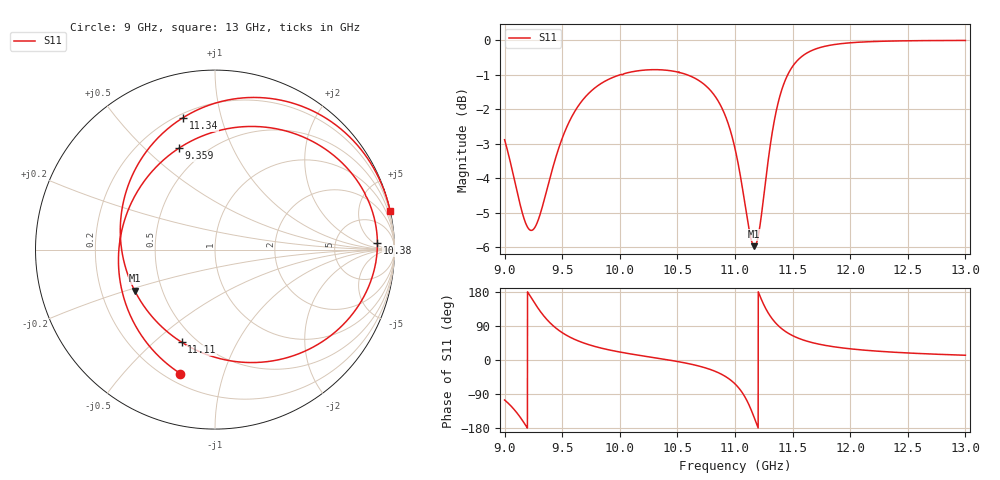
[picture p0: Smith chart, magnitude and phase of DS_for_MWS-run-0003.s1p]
! TOUCHSTONE file generated by CST DESIGN STUDIO
! Date and time: Tue Feb  4 17:20:07 2025
! Project name: C:\Work\MatlabApps\UnitCellOptimizationMatlab\CST\unitcell.cst
! Tree item: Tasks\Sweep1\SPara1\S-Parameters
! Header version: 2024
! Port assignment regex: !\s*Touchstone port\s*([0-9]+)\s*=\s*(CST MWS port|CST DES external port|CST DES block port)\s*(.+)\s* \(\"(.*)\"\)(\s*mode\s*([0-9]+))?.*
! Touchstone port assignment:
! Touchstone port 1 = CST DES external port 1 ("")
# GHz S MA R 50
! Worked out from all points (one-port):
!   4001 points, 9 GHz to 13 GHz, reference 50 ohm
!   lowest |S11| = -6.0 dB at 11.17 GHz (marker M1), VSWR 3.02, Z = 17.4 - j10.7 ohm
!   |S11| at or under -10 dB: nowhere
!   S11 on the Smith chart (normalised r, x): 9 GHz: 0.26, -0.73; 9.359 GHz: 0.36, +0.64; 10.38 GHz: 17, +7; 11.11 GHz: 0.42, -0.62; 11.34 GHz: 0.22, +0.76; 13 GHz: 0.03, +9.11
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9  0.7173 -105.6
9.084  0.6286 -131.0
9.186  0.541 -173.9
9.263  0.5351 149.1
9.359  0.5998 109.6
9.5  0.7207 72.1
9.602  0.7848 55.2
9.714  0.8322 42.1
10  0.8908 21.0
10.376  0.9056 2.4
10.5  0.8995 -3.9
10.677  0.8761 -15.2
10.81  0.8368 -27.7
10.913  0.7792 -42.7
11  0.6966 -63.0
11.059  0.618 -84.4
11.108  0.5483 -109.9
11.168  0.5026 -152.9
11.205  0.5234 177.7
11.242  0.5795 151.0
11.29  0.6733 123.4
11.336  0.7561 103.6
11.405  0.8465 82.7
11.5  0.9164 64.3
11.696  0.9709 44.0
12  0.9916 29.5
12.5  0.9983 18.6
13  0.9994 12.5
